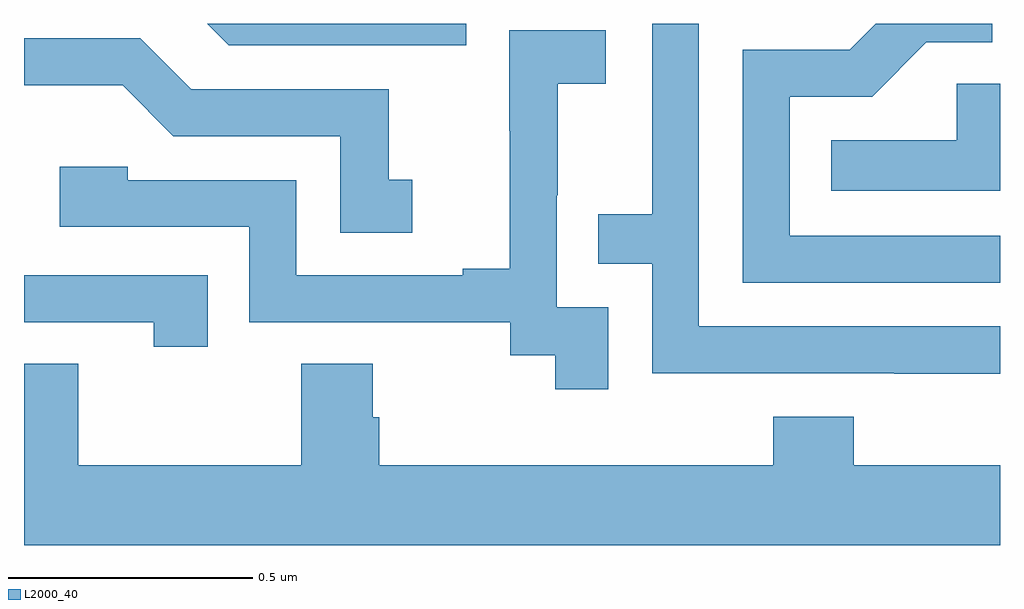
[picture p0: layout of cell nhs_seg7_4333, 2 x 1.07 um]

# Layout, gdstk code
import gdstk
lib = gdstk.Library(unit=1e-6, precision=1e-09)
def P(c, l, *ps):  # polygons
    for p in ps: c.add(gdstk.Polygon(p, *l))
L2000_40 = (2000, 40)

nhs_seg7_4333 = lib.new_cell('nhs_seg7_4333')
P(nhs_seg7_4333, L2000_40, [(173,1018.566),(172.569,1018.566),(172.569,1018.851),(172.738,1018.851),(172.849,1018.962),(172.984,1018.962),(172.984,1019),(172.745,1019),(172.692,1018.947),(172.473,1018.947),(172.473,1018.47),(173,1018.47)],
  [(171.906,1019),(171.376,1019),(171.42,1018.956),(171.906,1018.956)],
  [(173,1018.38),(172.383,1018.38),(172.383,1019),(172.287,1019),(172.287,1018.61),(172.177,1018.61),(172.177,1018.509),(172.287,1018.509),(172.287,1018.284),(172.783,1018.284),(172.783,1018.283),(173,1018.283)],
  [(172.197,1018.419),(172.092,1018.419),(172.092,1018.649),(172.094,1018.649),(172.094,1018.877),(172.192,1018.877),(172.192,1018.987),(171.994,1018.987),(171.994,1018.781),(171.995,1018.781),(171.995,1018.498),(171.899,1018.498),(171.899,1018.485),(171.558,1018.485),(171.558,1018.68),(171.213,1018.68),(171.213,1018.707),(171.073,1018.707),(171.073,1018.584),(171.462,1018.584),(171.462,1018.389),(171.996,1018.389),(171.996,1018.321),(172.089,1018.321),(172.089,1018.251),(172.197,1018.251)],
  [(171.796,1018.681),(171.747,1018.681),(171.747,1018.866),(171.343,1018.866),(171.238,1018.971),(171,1018.971),(171,1018.874),(171.202,1018.874),(171.306,1018.77),(171.648,1018.77),(171.648,1018.572),(171.796,1018.572)],
  [(173,1018.877),(172.911,1018.877),(172.911,1018.762),(172.654,1018.762),(172.654,1018.658),(173,1018.658)],
  [(171.377,1018.485),(171,1018.485),(171,1018.389),(171.266,1018.389),(171.266,1018.338),(171.377,1018.338)],
  [(173,1018.096),(172.7,1018.096),(172.7,1018.195),(172.535,1018.195),(172.535,1018.096),(171.728,1018.096),(171.728,1018.194),(171.715,1018.194),(171.715,1018.304),(171.568,1018.304),(171.568,1018.096),(171.111,1018.096),(171.111,1018.304),(171,1018.304),(171,1017.932),(173,1017.932)])

lib.write_gds('nhs_seg7_4333.gds')
